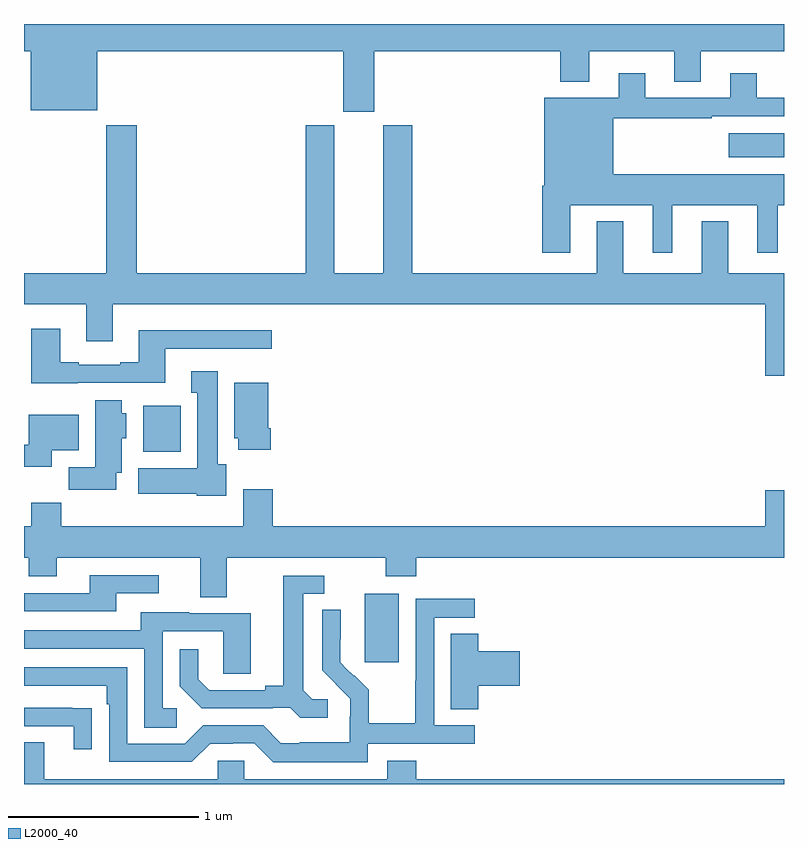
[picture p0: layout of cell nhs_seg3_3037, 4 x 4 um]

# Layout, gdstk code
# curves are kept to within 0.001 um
import gdstk
lib = gdstk.Library(unit=1e-6, precision=1e-09)
def R(c, l, rs):  # rectangles x0, y0, x1, y1
    for r in rs: c.add(gdstk.rectangle(r[:2], r[2:], *l))
def P(c, l, *ps):  # polygons
    for p in ps: c.add(gdstk.Polygon(p, *l))
L2000_40 = (2000, 40)

nhs_seg3_3037 = lib.new_cell('nhs_seg3_3037')
R(nhs_seg3_3037, L2000_40, [(270.794,691.041,270.973,691.402), (269.627,692.15,269.824,692.392), (272.709,693.698,273,693.826)])
P(nhs_seg3_3037, L2000_40, [(270.844,694.256),(271.823,694.256),(271.823,694.097),(271.975,694.097),(271.975,694.256),(272.423,694.256),(272.423,694.096),(272.563,694.096),(272.563,694.256),(273,694.256),(273,694.4),(269,694.4),(269,694.256),(269.036,694.256),(269.036,693.947),(269.386,693.947),(269.386,694.256),(270.68,694.256),(270.68,693.939),(270.844,693.939)],
  [(271.876,693.446),(272.309,693.446),(272.309,693.195),(272.413,693.195),(272.413,693.446),(272.858,693.446),(272.858,693.195),(272.968,693.195),(272.968,693.446),(273,693.446),(273,693.61),(272.101,693.61),(272.101,693.903),(272.621,693.903),(272.621,693.915),(273,693.915),(273,694.011),(272.857,694.011),(272.857,694.141),(272.717,694.141),(272.717,694.011),(272.269,694.011),(272.269,694.141),(272.129,694.141),(272.129,694.012),(271.739,694.012),(271.739,693.55),(271.727,693.55),(271.727,693.195),(271.876,693.195)],
  [(273,693.088),(272.707,693.088),(272.707,693.361),(272.567,693.361),(272.567,693.088),(272.155,693.088),(272.155,693.361),(272.015,693.361),(272.015,693.088),(271.043,693.088),(271.043,693.867),(270.89,693.867),(270.89,693.088),(270.634,693.088),(270.634,693.867),(270.482,693.867),(270.482,693.088),(269.594,693.088),(269.594,693.868),(269.434,693.868),(269.434,693.088),(269,693.088),(269,692.924),(269.327,692.924),(269.327,692.73),(269.467,692.73),(269.467,692.924),(272.9,692.924),(272.9,692.55),(273,692.55)],
  [(269.283,692.511),(269.743,692.511),(269.743,692.691),(270.304,692.691),(270.304,692.788),(269.603,692.788),(269.603,692.62),(269.507,692.62),(269.507,692.607),(269.287,692.607),(269.287,692.62),(269.191,692.62),(269.191,692.797),(269.039,692.797),(269.039,692.51),(269.283,692.51)],
  [(270.064,692.082),(270.019,692.082),(270.019,692.572),(269.879,692.572),(269.879,692.459),(269.912,692.459),(269.912,692.062),(269.6,692.062),(269.6,691.928),(269.91,691.928),(269.91,691.916),(270.064,691.916)],
  [(270.299,692.272),(270.286,692.272),(270.286,692.512),(270.107,692.512),(270.107,692.22),(270.128,692.22),(270.128,692.16),(270.299,692.16)],
  [(269.485,692.039),(269.515,692.039),(269.515,692.22),(269.539,692.22),(269.539,692.352),(269.515,692.352),(269.515,692.419),(269.375,692.419),(269.375,692.068),(269.236,692.068),(269.236,691.95),(269.485,691.95)],
  [(269.146,692.156),(269.287,692.156),(269.287,692.344),(269.024,692.344),(269.024,692.186),(269,692.186),(269,692.069),(269.146,692.069)],
  [(270.067,691.592),(270.904,691.592),(270.904,691.493),(271.064,691.493),(271.064,691.592),(273,691.592),(273,691.945),(272.9,691.945),(272.9,691.756),(270.308,691.756),(270.308,691.951),(270.155,691.951),(270.155,691.756),(269.195,691.756),(269.195,691.88),(269.039,691.88),(269.039,691.756),(269,691.756),(269,691.592),(269.026,691.592),(269.026,691.493),(269.173,691.493),(269.173,691.592),(269.927,691.592),(269.927,691.384),(270.067,691.384)],
  [(269.485,691.404),(269.71,691.404),(269.71,691.5),(269.345,691.5),(269.345,691.404),(269,691.404),(269,691.308),(269.485,691.308)],
  [(270.598,690.846),(270.516,690.846),(270.469,690.893),(270.469,691.401),(270.58,691.401),(270.58,691.497),(270.365,691.497),(270.365,690.917),(270.269,690.917),(270.269,690.894),(269.974,690.894),(269.917,690.951),(269.917,691.108),(269.82,691.108),(269.82,690.914),(269.936,690.798),(270.308,690.798),(270.308,690.801),(270.402,690.801),(270.454,690.749),(270.598,690.749)],
  [(270.81,690.612),(271.372,690.612),(271.372,690.708),(271.158,690.708),(271.158,691.275),(271.372,691.275),(271.372,691.374),(271.062,691.374),(271.062,690.944),(271.06,690.944),(271.06,690.721),(270.815,690.721),(270.815,690.895),(270.738,690.972),(270.735,690.969),(270.665,691.04),(270.666,691.316),(270.57,691.316),(270.57,690.998),(270.716,690.85),(270.716,690.753),(270.714,690.753),(270.714,690.619),(270.451,690.619),(270.451,690.615),(270.351,690.615),(270.258,690.708),(269.943,690.708),(269.847,690.612),(269.544,690.612),(269.544,691.014),(269,691.014),(269,690.918),(269.435,690.918),(269.435,690.821),(269.448,690.821),(269.448,690.516),(269.883,690.516),(269.979,690.612),(270.098,690.612),(270.098,690.615),(270.213,690.615),(270.313,690.515),(270.81,690.515)],
  [(269.803,690.798),(269.73,690.798),(269.73,691.203),(270.048,691.203),(270.048,690.979),(270.193,690.979),(270.193,691.299),(269.869,691.299),(269.869,691.303),(269.615,691.303),(269.615,691.209),(269,691.209),(269,691.113),(269.634,691.113),(269.634,690.697),(269.803,690.697)],
  [(271.391,690.917),(271.609,690.917),(271.609,691.1),(271.391,691.1),(271.391,691.19),(271.247,691.19),(271.247,690.793),(271.391,690.793)],
  [(269.357,690.8),(269.255,690.8),(269.255,690.801),(269,690.801),(269,690.705),(269.261,690.705),(269.261,690.582),(269.357,690.582)],
  [(273,690.424),(271.064,690.424),(271.064,690.523),(270.911,690.523),(270.911,690.424),(270.159,690.424),(270.159,690.522),(270.021,690.522),(270.021,690.424),(269.107,690.424),(269.107,690.619),(269,690.619),(269,690.4),(273,690.4)])

lib.write_gds('nhs_seg3_3037.gds')
